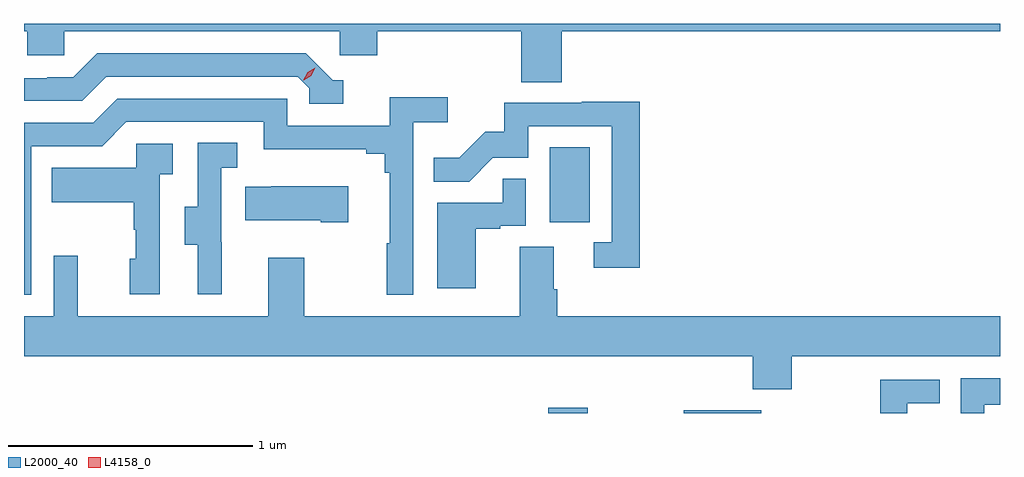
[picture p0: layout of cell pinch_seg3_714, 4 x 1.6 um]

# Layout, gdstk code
import gdstk
lib = gdstk.Library(unit=1e-6, precision=1e-09)
def R(c, l, rs):  # rectangles x0, y0, x1, y1
    for r in rs: c.add(gdstk.rectangle(r[:2], r[2:], *l))
def P(c, l, *ps):  # polygons
    for p in ps: c.add(gdstk.Polygon(p, *l))
L2000_40 = (2000, 40)
L4158_0 = (4158, 0)

pinch_seg3_714 = lib.new_cell('pinch_seg3_714')
R(pinch_seg3_714, L2000_40, [(844.898,747.303,845.059,747.325), (845.453,747.303,845.771,747.316), (844.904,748.086,845.068,748.393)])
P(pinch_seg3_714, L2000_40, [(844.952,748.868),(846.749,748.868),(846.749,748.9),(842.749,748.9),(842.749,748.868),(842.763,748.868),(842.763,748.77),(842.913,748.77),(842.913,748.868),(844.044,748.868),(844.044,748.77),(844.196,748.77),(844.196,748.868),(844.787,748.868),(844.787,748.66),(844.952,748.66)],
  [(844.057,748.668),(844.014,748.668),(843.903,748.779),(843.05,748.779),(842.951,748.68),(842.844,748.68),(842.844,748.677),(842.749,748.677),(842.749,748.584),(842.988,748.584),(843.087,748.683),(843.87,748.683),(843.918,748.635),(843.918,748.572),(844.057,748.572)],
  [(842.778,748.398),(843.069,748.398),(843.168,748.497),(843.732,748.497),(843.732,748.385),(844.151,748.385),(844.151,748.366),(844.228,748.366),(844.228,748.289),(844.247,748.289),(844.247,748.001),(844.236,748.001),(844.236,747.789),(844.344,747.789),(844.344,748.496),(844.486,748.496),(844.486,748.598),(844.247,748.598),(844.247,748.482),(843.828,748.482),(843.828,748.593),(843.131,748.593),(843.032,748.494),(842.749,748.494),(842.749,747.789),(842.778,747.789)],
  [(845.273,748.58),(845.035,748.58),(845.035,748.575),(844.717,748.575),(844.717,748.458),(844.64,748.458),(844.533,748.351),(844.429,748.351),(844.429,748.252),(844.573,748.252),(844.671,748.35),(844.815,748.35),(844.815,748.479),(845.157,748.479),(845.157,748.005),(845.085,748.005),(845.085,747.9),(845.273,747.9)],
  [(843.56,748.005),(843.558,748.005),(843.558,748.309),(843.622,748.309),(843.622,748.412),(843.462,748.412),(843.462,748.149),(843.407,748.149),(843.407,747.994),(843.461,747.994),(843.461,747.792),(843.56,747.792)],
  [(843.306,748.283),(843.358,748.283),(843.358,748.407),(843.21,748.407),(843.21,748.309),(842.863,748.309),(842.863,748.169),(843.198,748.169),(843.198,748.055),(843.208,748.055),(843.208,747.936),(843.182,747.936),(843.182,747.792),(843.306,747.792)],
  [(844.6,748.059),(844.7,748.059),(844.7,748.071),(844.806,748.071),(844.806,748.265),(844.711,748.265),(844.711,748.167),(844.442,748.167),(844.442,747.816),(844.6,747.816)],
  [(844.078,748.234),(843.763,748.234),(843.763,748.231),(843.655,748.231),(843.655,748.094),(843.965,748.094),(843.965,748.087),(844.078,748.087)],
  [(845.895,747.536),(846.749,747.536),(846.749,747.7),(844.934,747.7),(844.934,747.812),(844.921,747.812),(844.921,747.986),(844.781,747.986),(844.781,747.7),(843.897,747.7),(843.897,747.94),(843.749,747.94),(843.749,747.7),(842.969,747.7),(842.969,747.949),(842.871,747.949),(842.871,747.7),(842.749,747.7),(842.749,747.536),(845.735,747.536),(845.735,747.401),(845.895,747.401)],
  [(846.685,747.339),(846.749,747.339),(846.749,747.447),(846.588,747.447),(846.588,747.303),(846.685,747.303)],
  [(846.369,747.344),(846.503,747.344),(846.503,747.441),(846.258,747.441),(846.258,747.303),(846.369,747.303)])
P(pinch_seg3_714, L4158_0, [(843.894,748.668),(843.894,748.668),(843.911,748.701),(843.942,748.72),(843.943,748.72),(843.943,748.72),(843.926,748.687),(843.895,748.668)])

lib.write_gds('pinch_seg3_714.gds')
